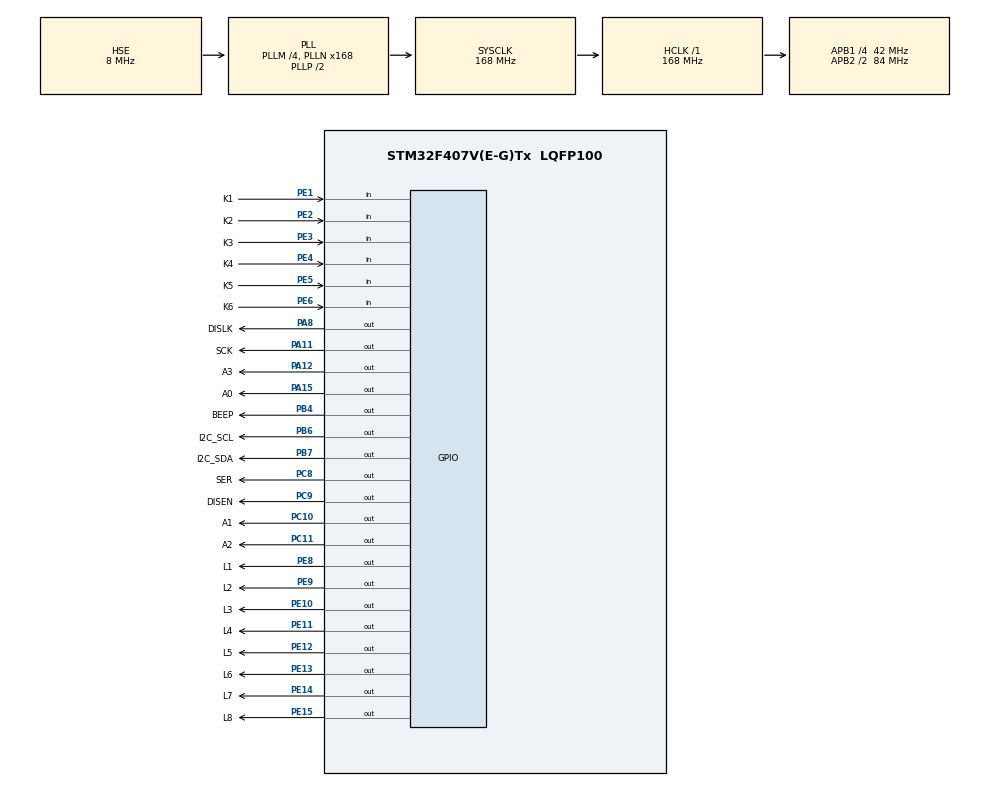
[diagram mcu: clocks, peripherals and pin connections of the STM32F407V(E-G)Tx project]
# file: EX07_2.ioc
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FREERTOS.Tasks01=TaskLED,24,256,StartTaskLED,Default,NULL,Dynamic,NULL,NULL;TaskRTC,8,256,StartTaskRTC,Default,NULL,Dynamic,NULL,NULL;TaskKEY,8,256,StartTaskKEY,Default,NULL,Dynamic,NULL,NULL;TaskSEG,8,128,StartTaskSEG,Default,NULL,Dynamic,NULL,NULL;TaskGUI,8,255,StartTaskGUI,Default,NULL,Dynamic,NULL,NULL
Mcu.Family=STM32F4
Mcu.Name=STM32F407V(E-G)Tx
Mcu.Package=LQFP100
NVIC.PriorityGroup=NVIC_PRIORITYGROUP_4
NVIC.RTC_Alarm_IRQn=true\:5\:0\:true\:false\:true\:true\:true\:true
NVIC.RTC_WKUP_IRQn=true\:5\:0\:true\:false\:true\:true\:true\:true
NVIC.TIM1_BRK_TIM9_IRQn=true\:0\:0\:false\:false\:true\:false\:false\:true
NVIC.TimeBase=TIM1_BRK_TIM9_IRQn
NVIC.TimeBaseIP=TIM9
PA11.GPIO_Label=SCK
PA11.Signal=GPIO_Output
PA12.GPIO_Label=A3
PA12.Signal=GPIO_Output
PA13.Mode=Serial_Wire
PA13.Signal=SYS_JTMS-SWDIO
PA14.Mode=Serial_Wire
PA14.Signal=SYS_JTCK-SWCLK
PA15.GPIO_Label=A0
PA15.Signal=GPIO_Output
PA8.GPIO_Label=DISLK
PA8.Signal=GPIO_Output
PB4.GPIO_Label=BEEP
PB4.Signal=GPIO_Output
PB6.GPIO_Label=I2C_SCL
PB6.GPIO_PuPd=GPIO_PULLDOWN
PB6.Signal=GPIO_Output
PB7.GPIO_Label=I2C_SDA
PB7.GPIO_PuPd=GPIO_PULLDOWN
PB7.Signal=GPIO_Output
PC10.GPIO_Label=A1
PC10.Signal=GPIO_Output
PC11.GPIO_Label=A2
PC11.Signal=GPIO_Output
PC14-OSC32_IN.Mode=LSE-External-Oscillator
PC14-OSC32_IN.Signal=RCC_OSC32_IN
PC15-OSC32_OUT.Mode=LSE-External-Oscillator
PC15-OSC32_OUT.Signal=RCC_OSC32_OUT
PC8.GPIO_Label=SER
PC8.Signal=GPIO_Output
PC9.GPIO_Label=DISEN
PC9.Signal=GPIO_Output
PE1.GPIO_Label=K1
PE1.GPIO_PuPd=GPIO_PULLUP
PE1.Signal=GPIO_Input
PE10.GPIO_Label=L3
PE10.GPIO_ModeDefaultOutputPP=GPIO_MODE_OUTPUT_PP
PE10.GPIO_PuPd=GPIO_NOPULL
PE10.GPIO_Speed=GPIO_SPEED_FREQ_LOW
PE10.PinState=GPIO_PIN_SET
PE10.Signal=GPIO_Output
PE11.GPIO_Label=L4
PE11.GPIO_ModeDefaultOutputPP=GPIO_MODE_OUTPUT_PP
PE11.GPIO_PuPd=GPIO_NOPULL
PE11.GPIO_Speed=GPIO_SPEED_FREQ_LOW
PE11.PinState=GPIO_PIN_SET
PE11.Signal=GPIO_Output
PE12.GPIO_Label=L5
PE12.GPIO_ModeDefaultOutputPP=GPIO_MODE_OUTPUT_PP
PE12.GPIO_PuPd=GPIO_NOPULL
PE12.GPIO_Speed=GPIO_SPEED_FREQ_LOW
PE12.PinState=GPIO_PIN_SET
PE12.Signal=GPIO_Output
PE13.GPIO_Label=L6
PE13.GPIO_ModeDefaultOutputPP=GPIO_MODE_OUTPUT_PP
PE13.GPIO_PuPd=GPIO_NOPULL
PE13.GPIO_Speed=GPIO_SPEED_FREQ_LOW
PE13.PinState=GPIO_PIN_SET
PE13.Signal=GPIO_Output
PE14.GPIO_Label=L7
PE14.GPIO_ModeDefaultOutputPP=GPIO_MODE_OUTPUT_PP
PE14.GPIO_PuPd=GPIO_NOPULL
PE14.GPIO_Speed=GPIO_SPEED_FREQ_LOW
PE14.PinState=GPIO_PIN_SET
PE14.Signal=GPIO_Output
PE15.GPIO_Label=L8
PE15.GPIO_ModeDefaultOutputPP=GPIO_MODE_OUTPUT_PP
PE15.GPIO_PuPd=GPIO_NOPULL
PE15.GPIO_Speed=GPIO_SPEED_FREQ_LOW
PE15.PinState=GPIO_PIN_SET
PE15.Signal=GPIO_Output
PE2.GPIO_Label=K2
PE2.GPIO_PuPd=GPIO_PULLUP
PE2.Signal=GPIO_Input
PE3.GPIO_Label=K3
PE3.GPIO_PuPd=GPIO_PULLUP
PE3.Signal=GPIO_Input
PE4.GPIO_Label=K4
PE4.GPIO_PuPd=GPIO_PULLUP
PE4.Signal=GPIO_Input
PE5.GPIO_Label=K5
PE5.GPIO_PuPd=GPIO_PULLDOWN
PE5.Signal=GPIO_Input
PE6.GPIO_Label=K6
PE6.GPIO_PuPd=GPIO_PULLDOWN
PE6.Signal=GPIO_Input
PE8.GPIO_Label=L1
PE8.GPIO_ModeDefaultOutputPP=GPIO_MODE_OUTPUT_PP
PE8.GPIO_PuPd=GPIO_NOPULL
PE8.GPIO_Speed=GPIO_SPEED_FREQ_LOW
PE8.PinState=GPIO_PIN_SET
PE8.Signal=GPIO_Output
PE9.GPIO_Label=L2
PE9.GPIO_ModeDefaultOutputPP=GPIO_MODE_OUTPUT_PP
PE9.GPIO_PuPd=GPIO_NOPULL
PE9.GPIO_Speed=GPIO_SPEED_FREQ_LOW
PE9.PinState=GPIO_PIN_SET
PE9.Signal=GPIO_Output
PH0-OSC_IN.Mode=HSE-External-Oscillator
PH0-OSC_IN.Signal=RCC_OSC_IN
PH1-OSC_OUT.Mode=HSE-External-Oscillator
PH1-OSC_OUT.Signal=RCC_OSC_OUT
ProjectManager.HeapSize=0x200
ProjectManager.StackSize=0x400
ProjectManager.TargetToolchain=MDK-ARM V5.27
RCC.48MHZClocksFreq_Value=84000000
RCC.AHBFreq_Value=168000000
RCC.APB1CLKDivider=RCC_HCLK_DIV4
RCC.APB1Freq_Value=42000000
RCC.APB1TimFreq_Value=84000000
RCC.APB2CLKDivider=RCC_HCLK_DIV2
RCC.APB2Freq_Value=84000000
RCC.APB2TimFreq_Value=168000000
RCC.CortexFreq_Value=168000000
RCC.HCLKFreq_Value=168000000
RCC.HSE_VALUE=8000000
RCC.HSI_VALUE=16000000
RCC.PLLM=4
RCC.PLLN=168
RCC.PLLSourceVirtual=RCC_PLLSOURCE_HSE
RCC.RCC_RTC_Clock_Source=RCC_RTCCLKSOURCE_LSE
RCC.RCC_RTC_Clock_SourceVirtual=RCC_RTCCLKSOURCE_LSE
RCC.SYSCLKFreq_VALUE=168000000
RCC.SYSCLKSource=RCC_SYSCLKSOURCE_PLLCLK
RCC.VCOOutputFreq_Value=336000000
RTC.Alarm=RTC_ALARM_A
VP_FREERTOS_VS_CMSIS_V2.Mode=CMSIS_V2
VP_RTC_VS_RTC_Activate.Mode=RTC_Enabled
VP_RTC_VS_RTC_Alarm_A_Intern.Mode=Alarm A
VP_RTC_VS_RTC_Calendar.Mode=RTC_Calendar
VP_RTC_VS_RTC_WakeUp_intern.Mode=WakeUp
VP_SYS_VS_tim9.Mode=TIM9
board=custom

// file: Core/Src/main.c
/* USER CODE BEGIN Header */
/**
  ******************************************************************************
  * @file           : main.c
  * @brief          : Main program body
  ******************************************************************************
  * @attention
  *
  * <h2><center>&copy; Copyright (c) 2021 STMicroelectronics.
  * All rights reserved.</center></h2>
  *
  * This software component is licensed by ST under Ultimate Liberty license
  * SLA0044, the "License"; You may not use this file except in compliance with
  * the License. You may obtain a copy of the License at:
  *                             www.st.com/SLA0044
  *
  ******************************************************************************
  */
/* USER CODE END Header */
#include "main.h"
#include "cmsis_os.h"
#include "rtc.h"
#include "gpio.h"

void SystemClock_Config(void);
void MX_FREERTOS_Init(void);

int main(void)
{

  /* MCU Configuration--------------------------------------------------------*/

  /* Reset of all peripherals, Initializes the Flash interface and the Systick. */
  HAL_Init();

  /* Configure the system clock */
  SystemClock_Config();

  /* Initialize all configured peripherals */
  MX_GPIO_Init();
  MX_RTC_Init();
  /* USER CODE BEGIN 2 */
	SetRTCDate(RTC_Year,RTC_Mon,RTC_Dat);
	SetRTCTime(RTC_Hour,RTC_Min,RTC_Sec);

	HAL_RTCEx_DeactivateWakeUpTimer(&hrtc);
	HAL_RTC_DeactivateAlarm(&hrtc,RTC_ALARM_A);
  /* USER CODE END 2 */

  /* Init scheduler */
  osKernelInitialize();  /* Call init function for freertos objects (in freertos.c) */
  MX_FREERTOS_Init();
  /* Start scheduler */
  osKernelStart();

  /* We should never get here as control is now taken by the scheduler */
  /* Infinite loop */
  while (1)
  {

  }
}

void SystemClock_Config(void)
{
  RCC_OscInitTypeDef RCC_OscInitStruct = {0};
  RCC_ClkInitTypeDef RCC_ClkInitStruct = {0};

  /** Configure the main internal regulator output voltage
  */
  __HAL_RCC_PWR_CLK_ENABLE();
  __HAL_PWR_VOLTAGESCALING_CONFIG(PWR_REGULATOR_VOLTAGE_SCALE1);
  /** Initializes the RCC Oscillators according to the specified parameters
  * in the RCC_OscInitTypeDef structure.
  */
  RCC_OscInitStruct.OscillatorType = RCC_OSCILLATORTYPE_HSE|RCC_OSCILLATORTYPE_LSE;
  RCC_OscInitStruct.HSEState = RCC_HSE_ON;
  RCC_OscInitStruct.LSEState = RCC_LSE_ON;
  RCC_OscInitStruct.PLL.PLLState = RCC_PLL_ON;
  RCC_OscInitStruct.PLL.PLLSource = RCC_PLLSOURCE_HSE;
  RCC_OscInitStruct.PLL.PLLM = 4;
  RCC_OscInitStruct.PLL.PLLN = 168;
  RCC_OscInitStruct.PLL.PLLP = RCC_PLLP_DIV2;
  RCC_OscInitStruct.PLL.PLLQ = 4;
  if (HAL_RCC_OscConfig(&RCC_OscInitStruct) != HAL_OK)
  {
    Error_Handler();
  }
  /** Initializes the CPU, AHB and APB buses clocks
  */
  RCC_ClkInitStruct.ClockType = RCC_CLOCKTYPE_HCLK|RCC_CLOCKTYPE_SYSCLK
                              |RCC_CLOCKTYPE_PCLK1|RCC_CLOCKTYPE_PCLK2;
  RCC_ClkInitStruct.SYSCLKSource = RCC_SYSCLKSOURCE_PLLCLK;
  RCC_ClkInitStruct.AHBCLKDivider = RCC_SYSCLK_DIV1;
  RCC_ClkInitStruct.APB1CLKDivider = RCC_HCLK_DIV4;
  RCC_ClkInitStruct.APB2CLKDivider = RCC_HCLK_DIV2;

  if (HAL_RCC_ClockConfig(&RCC_ClkInitStruct, FLASH_LATENCY_5) != HAL_OK)
  {
    Error_Handler();
  }
}

void HAL_TIM_PeriodElapsedCallback(TIM_HandleTypeDef *htim)
{
  if (htim->Instance == TIM9) {
    HAL_IncTick();
  }
}

void Error_Handler(void)
{
  __disable_irq();
  while (1)
  {
  }
}

/************************ (C) COPYRIGHT STMicroelectronics *****END OF FILE****/

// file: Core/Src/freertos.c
/* USER CODE BEGIN Header */
/**
  ******************************************************************************
  * File Name          : freertos.c
  * Description        : Code for freertos applications
  ******************************************************************************
  * @attention
  *
  * <h2><center>&copy; Copyright (c) 2021 STMicroelectronics.
  * All rights reserved.</center></h2>
  *
  * This software component is licensed by ST under Ultimate Liberty license
  * SLA0044, the "License"; You may not use this file except in compliance with
  * the License. You may obtain a copy of the License at:
  *                             www.st.com/SLA0044
  *
  ******************************************************************************
  */
/* USER CODE END Header */

#include "FreeRTOS.h"
#include "task.h"
#include "main.h"
#include "cmsis_os.h"

/* USER CODE BEGIN Includes */
#include "rtc.h"
#include "seg.h"
#include "led.h"

#include "stdio.h"
#include "util.h"
#include "GUI.h"
/* USER CODE END Includes */

/* USER CODE BEGIN PD */
//oled
#define UI_MAIN 0
#define UI_SET 1

/* USER CODE END PD */

/* USER CODE BEGIN Variables */

extern GUI_FLASH const GUI_FONT GUI_FontHZ_KaiTi_16;

char year[9] = {0};//年月日字符串
char month[9] = {0};
char date[9] = {0};
char hour[5] = {0};
char min[5] = {0};
char sec[5] = {0};

uint8_t seg[4] = {0};

uint8_t able_set = 0;
uint8_t bset = 0;//0 disp 1 set min 2 set sec
uint8_t bfree = 0;

uint16_t beep_time = 0;
uint8_t beep_tune;

uint8_t g_ui_indx = UI_MAIN;
uint8_t g_ui_select = UI_MAIN;

uint8_t disp_main_flag = 0; // 0 year ;1 month & date; 3 hour min; 4 seconds
uint8_t disp_set_flag = 0; //设置标志位

/* USER CODE END Variables */
/* Definitions for TaskLED */
osThreadId_t TaskLEDHandle;
const osThreadAttr_t TaskLED_attributes = {
  .name = "TaskLED",
  .stack_size = 256 * 4,
  .priority = (osPriority_t) osPriorityNormal,
};
/* Definitions for TaskRTC */
osThreadId_t TaskRTCHandle;
const osThreadAttr_t TaskRTC_attributes = {
  .name = "TaskRTC",
  .stack_size = 256 * 4,
  .priority = (osPriority_t) osPriorityLow,
};
/* Definitions for TaskKEY */
osThreadId_t TaskKEYHandle;
const osThreadAttr_t TaskKEY_attributes = {
  .name = "TaskKEY",
  .stack_size = 256 * 4,
  .priority = (osPriority_t) osPriorityLow,
};
/* Definitions for TaskSEG */
osThreadId_t TaskSEGHandle;
const osThreadAttr_t TaskSEG_attributes = {
  .name = "TaskSEG",
  .stack_size = 128 * 4,
  .priority = (osPriority_t) osPriorityLow,
};
/* Definitions for TaskGUI */
osThreadId_t TaskGUIHandle;
const osThreadAttr_t TaskGUI_attributes = {
  .name = "TaskGUI",
  .stack_size = 255 * 4,
  .priority = (osPriority_t) osPriorityLow,
};

/* USER CODE BEGIN FunctionPrototypes */
void beep(uint16_t time,uint8_t tune);

void EnterSleepMode(void);
void EnterStopMode(void);
void HAL_GPIO_EXTI_Callback (uint16_t GPIO_Pin);
void HAL_RTCEx_WakeUpTimerEventCallback(RTC_HandleTypeDef *hrtc);
void HAL_RTC_AlarmAEventCallback (RTC_HandleTypeDef *hrtc);

//oled
void DrawUIMAIN();
void DrawUISET();

//KEY
void Key1_Done();
void Key2_Done();
void Key3_Done();
void Key4_Done();
void Key5_Done();
/* USER CODE END FunctionPrototypes */

void StartTaskLED(void *argument);
void StartTaskRTC(void *argument);
void StartTaskKEY(void *argument);
void StartTaskSEG(void *argument);
void StartTaskGUI(void *argument);

void MX_FREERTOS_Init(void); /* (MISRA C 2004 rule 8.1) */

void MX_FREERTOS_Init(void) {

  /* Create the thread(s) */
  /* creation of TaskLED */
  TaskLEDHandle = osThreadNew(StartTaskLED, NULL, &TaskLED_attributes);

  /* creation of TaskRTC */
  TaskRTCHandle = osThreadNew(StartTaskRTC, NULL, &TaskRTC_attributes);

  /* creation of TaskKEY */
  TaskKEYHandle = osThreadNew(StartTaskKEY, NULL, &TaskKEY_attributes);

  /* creation of TaskSEG */
  TaskSEGHandle = osThreadNew(StartTaskSEG, NULL, &TaskSEG_attributes);

  /* creation of TaskGUI */
  TaskGUIHandle = osThreadNew(StartTaskGUI, NULL, &TaskGUI_attributes);

}

void StartTaskLED(void *argument)
{
  /* USER CODE BEGIN StartTaskLED */
  /* Infinite loop */
  for(;;)
  {
		if(beep_time>0)
		{
			-- beep_time;
			HAL_GPIO_TogglePin(BEEP_GPIO_Port,BEEP_Pin);
			for(volatile uint8_t i = 0;i<beep_tune;++i)
				for(volatile uint16_t j=0;j<3000;++j);
		}

    osDelay(1);
  }
  /* USER CODE END StartTaskLED */
}

void StartTaskRTC(void *argument)
{
  /* USER CODE BEGIN StartTaskRTC */
	HAL_RTCEx_DeactivateWakeUpTimer(&hrtc);
	HAL_RTC_DeactivateAlarm(&hrtc,RTC_ALARM_A);

	uint32_t tick = osKernelGetTickCount();

  /* Infinite loop */
  for(;;)
  {
		if(osKernelGetTickCount()>tick+1000)
		{
			tick = osKernelGetTickCount();
			if(ReadRTCDateTime() == HAL_OK)
			{
				seg[0] = RTC_Min/10;
				seg[1] = RTC_Min%10;
				seg[2] = RTC_Sec/10;
				seg[3] = RTC_Sec%10;

			}

		}

    osDelay(1);
  }
  /* USER CODE END StartTaskRTC */
}

void StartTaskKEY(void *argument)
{
  /* USER CODE BEGIN StartTaskKEY */
	uint32_t press_tick;
  /* Infinite loop */
	uint8_t key;

  for(;;)
  {

		key=ScanKey();

		//进入停止模式
		if(key>0)
			press_tick = osKernelGetTickCount();

		if(bfree&&osKernelGetTickCount()>=press_tick+10*1000)
		{

			press_tick = osKernelGetTickCount();

			HAL_GPIO_WritePin(A3_GPIO_Port, A3_Pin, GPIO_PIN_RESET);
			EnterStopMode();
		}

		switch (key)
		{
			case KEY1:
				Key1_Done();

				break;
			case KEY2:
				Key2_Done();
				break;
			case KEY3:
				Key3_Done();
				break;
			case KEY4:
				Key4_Done();
				break;
			case KEY5:
//				bset = !bset;
				Key5_Done();
				break;
			case KEY6:
				bfree = !bfree;
//				Set_leds(0x01);
//				beep(100,20);

				break;
			default:
				break;
		}
    osDelay(50);
  }
  /* USER CODE END StartTaskKEY */
}

void StartTaskSEG(void *argument)
{
  /* USER CODE BEGIN StartTaskSEG */

	int i;
  /* Infinite loop */
  for(;;)
  {
		switch (bset)
    {
    	case 0:
				for(i=0;i<4;i++)
				{
					if((1 == i&&osKernelGetTickCount()%1000>500)||(i==3&&bfree))
					{
						Write595(i,seg[i],1);
					}
					else
						Write595(i,seg[i],0);
					osDelay(5);
				}
    		break;
    	case 1:
				for(i=0;i<4;i++)
				{
					if((0 == i||i==1)&&osKernelGetTickCount()%1000>500)
					{
						Write595(i,16,0);
					}
					else
						Write595(i,seg[i],0);
					osDelay(5);
				}
				break;
    	case 2:
				for(i=0;i<4;i++)
				{
					if((2 == i||i==3)&&osKernelGetTickCount()%1000>500)
					{
						Write595(i,16,0);
					}
					else
						Write595(i,seg[i],0);
					osDelay(5);
				}

    		break;
    	default:
    		break;
    }

    osDelay(1);
  }
  /* USER CODE END StartTaskSEG */
}

void StartTaskGUI(void *argument)
{
  /* USER CODE BEGIN StartTaskGUI */

	GUI_Init();
  /* Infinite loop */
  for(;;)
  {
		switch (g_ui_indx)
    {
    	case UI_MAIN:
				DrawUIMAIN();
    		break;
    	case UI_SET:
				DrawUISET();
    		break;
    	default:
    		break;
    }

    osDelay(1);
  }
  /* USER CODE END StartTaskGUI */
}

/* USER CODE BEGIN Application */
void beep(uint16_t time, uint8_t tune)
{
	beep_time = time;
	beep_tune = tune;
}

void EnterSleepMode(void){ //进入睡眠模式
	HAL_RTCEx_SetWakeUpTimer_IT(&hrtc,30,RTC_WAKEUPCLOCK_CK_SPRE_16BITS);
	SysTick->CTRL &= ~SysTick_CTRL_ENABLE_Msk;
	HAL_PWR_EnterSLEEPMode(PWR_MAINREGULATOR_ON,PWR_SLEEPENTRY_WFI);
}

void EnterStopMode(void){	//开启停止模式
	HAL_RTCEx_SetWakeUpTimer_IT(&hrtc,30,RTC_WAKEUPCLOCK_CK_SPRE_16BITS);
	SysTick->CTRL &= ~SysTick_CTRL_ENABLE_Msk;
	HAL_PWR_EnterSTOPMode(PWR_MAINREGULATOR_ON,PWR_SLEEPENTRY_WFI);
}

void HAL_GPIO_EXTI_Callback (uint16_t GPIO_Pin){

	SystemClock_Config();
	SysTick->CTRL |= ~SysTick_CTRL_ENABLE_Msk;
	HAL_RTCEx_DeactivateWakeUpTimer(&hrtc);
	HAL_RTC_DeactivateAlarm(&hrtc, RTC_ALARM_A);

}

void HAL_RTCEx_WakeUpTimerEventCallback(RTC_HandleTypeDef *hrtc){
	SystemClock_Config();
	SysTick->CTRL |= SysTick_CTRL_ENABLE_Msk;
	HAL_RTCEx_DeactivateWakeUpTimer(hrtc);
}

void HAL_RTC_AlarmAEventCallback (RTC_HandleTypeDef *hrtc){
		SystemClock_Config();
		SysTick->CTRL |= SysTick_CTRL_ENABLE_Msk;
		HAL_RTC_DeactivateAlarm(hrtc,RTC_ALARM_A);
}

//OLED部分
void Key5_Done()  //切换设置与显示状态
{
	switch (g_ui_indx)
	{
		case UI_MAIN:
			g_ui_indx = UI_SET;
			break;
		case UI_SET:
			disp_set_flag++;
			if(disp_set_flag>3)
			{
				disp_set_flag = 0;
				g_ui_indx = UI_MAIN;
			}
			break;
		default:
			break;
	}

}

void Key1_Done()  //显示年份
{
	switch (g_ui_indx)
	{
		case UI_MAIN:
			disp_main_flag = 0;
			break;
		case UI_SET:
			if(disp_set_flag == 0)//设置年+
			{
				RTC_Year++;
				SetRTCDate(RTC_Year,RTC_Mon,RTC_Dat);
			}
			else if(disp_set_flag == 1)//设置月日+
			{
				RTC_Mon = (RTC_Mon)%12+1;
				SetRTCDate(RTC_Year,RTC_Mon,RTC_Dat);
			}

			else if(disp_set_flag == 2)//设置时分+
			{
				RTC_Hour = (RTC_Hour+1)%24;
				SetRTCTime(RTC_Hour,RTC_Min,RTC_Sec);
			}

			else if(disp_set_flag == 3)//设置分秒+
			{
				RTC_Min = (RTC_Min+1)%60;
				SetRTCTime(RTC_Hour,RTC_Min,RTC_Sec);
			}
			break;
		default:
			break;
	}
}

void Key2_Done()  //显示月份
{
	switch (g_ui_indx)
	{
		case UI_MAIN:
			disp_main_flag = 1;
			break;
		case UI_SET:
			if(disp_set_flag == 1)//设置月日+
			{
				RTC_Dat = (RTC_Dat)%31+1;
				SetRTCDate(RTC_Year,RTC_Mon,RTC_Dat);
			}

			else if(disp_set_flag == 2)//设置时分+
			{
				RTC_Min = (RTC_Min+1)%60;
				SetRTCTime(RTC_Hour,RTC_Min,RTC_Sec);
			}

			else if(disp_set_flag == 3)//设置分秒+
			{
				RTC_Sec = (RTC_Sec+1)%60;
				SetRTCTime(RTC_Hour,RTC_Min,RTC_Sec);
			}

			break;
		default:
			break;
	}
}

void Key3_Done()
{
	switch (g_ui_indx)
	{
		case UI_MAIN:
			disp_main_flag = 2;
			break;
		case UI_SET:
			if(disp_set_flag == 1)//设置月日-
			{
				RTC_Dat = RTC_Dat-1;
				if(RTC_Dat==0)
					RTC_Dat=31;
				SetRTCDate(RTC_Year,RTC_Mon,RTC_Dat);
			}

			else if(disp_set_flag == 2)//设置时分+
			{
				RTC_Min = (RTC_Min+59)%60;
				SetRTCTime(RTC_Hour,RTC_Min,RTC_Sec);
			}

			else if(disp_set_flag == 3)//设置分秒+
			{
				RTC_Sec = (RTC_Sec+59)%60;
				SetRTCTime(RTC_Hour,RTC_Min,RTC_Sec);
			}

			break;
		default:
			break;
	}
}

void Key4_Done()
{
	switch (g_ui_indx)
	{
		case UI_MAIN:
			disp_main_flag = 3;
			break;
		case UI_SET:

			if(disp_set_flag == 0)//设置年-
			{
				RTC_Year--;
				SetRTCDate(RTC_Year,RTC_Mon,RTC_Dat);
			}
			else if(disp_set_flag == 1)//设置月日-
			{
				RTC_Mon = RTC_Mon-1;
				if(RTC_Mon == 0)
					RTC_Mon = 12;
				SetRTCDate(RTC_Year,RTC_Mon,RTC_Dat);
			}

			else if(disp_set_flag == 2)//设置时分-
			{
				RTC_Hour = (RTC_Hour+23)%24;
				SetRTCTime(RTC_Hour,RTC_Min,RTC_Sec);
			}

			else if(disp_set_flag == 3)//设置分秒-
			{
				RTC_Min = (RTC_Min+59)%60;
				SetRTCTime(RTC_Hour,RTC_Min,RTC_Sec);
			}

			break;
		default:
			break;
	}
}

//主界面绘图
void DrawUIMAIN()
{
	switch (disp_main_flag)
  {
  	case 0:
			if(ReadRTCDateTime() == HAL_OK)
			{
					GUI_Clear();
					GUI_SetFont(&GUI_FontHZ_KaiTi_16);
					myitoa(RTC_Year,year,10);
					GUI_DispStringAt("年份",54,0);
					GUI_DispStringAt(year,53,20);
					GUI_Update();
			}
  		break;
  	case 1:
			if(ReadRTCDateTime() == HAL_OK)
			{
					GUI_Clear();
					GUI_SetFont(&GUI_FontHZ_KaiTi_16);
					myitoa(RTC_Mon,month,10);
					myitoa(RTC_Dat,date,10);
					GUI_DispStringAt("日期",54,0);
					GUI_DispStringAt(month,45,20);
					GUI_DispStringAt("月",61,20);
					GUI_DispStringAt(date,80,20);
					GUI_DispStringAt("日",95,20);

					GUI_Update();
			}
  		break;

	  case 2:
			if(ReadRTCDateTime() == HAL_OK)
			{
					GUI_Clear();
					GUI_SetFont(&GUI_FontHZ_KaiTi_16);
					myitoa(RTC_Hour,hour,10);
					myitoa(RTC_Min,min,10);
					GUI_DispStringAt("时分",54,0);
					GUI_DispStringAt(hour,40,20);
					GUI_DispStringAt("时",60,20);
					GUI_DispStringAt(min,80,20);
					GUI_DispStringAt("分",105,20);
					GUI_Update();
			}
  		break;

			case 3:
			if(ReadRTCDateTime() == HAL_OK)
			{
					GUI_Clear();
					GUI_SetFont(&GUI_FontHZ_KaiTi_16);
					myitoa(RTC_Sec,sec,10);
					GUI_DispStringAt("秒",54,0);
					GUI_DispStringAt(sec,42,20);
					GUI_DispStringAt("秒",65,20);
					GUI_Update();
			}
  		break;

  	default:
  		break;
  }

}

void DrawUISET()
{
	switch (disp_set_flag)
  {
  	case 0:
			if(ReadRTCDateTime() == HAL_OK)
			{
					GUI_Clear();
					GUI_SetFont(&GUI_FontHZ_KaiTi_16);
					myitoa(RTC_Year,year,10);
					GUI_DispStringAt("年份设置",40,0);
					GUI_DispStringAt(year,53,20);
					GUI_Update();
			}
  		break;
  	case 1:
			if(ReadRTCDateTime() == HAL_OK)
			{
					GUI_Clear();
					GUI_SetFont(&GUI_FontHZ_KaiTi_16);
					myitoa(RTC_Mon,month,10);
					myitoa(RTC_Dat,date,10);
					GUI_DispStringAt("日期设置",40,0);
					GUI_DispStringAt(month,45,20);
					GUI_DispStringAt("月",61,20);
					GUI_DispStringAt(date,80,20);
					GUI_DispStringAt("日",95,20);

					GUI_Update();
			}
  		break;

	  case 2:
			if(ReadRTCDateTime() == HAL_OK)
			{
					GUI_Clear();
					GUI_SetFont(&GUI_FontHZ_KaiTi_16);
					myitoa(RTC_Hour,hour,10);
					myitoa(RTC_Min,min,10);
					GUI_DispStringAt("时分设置",40,0);
					GUI_DispStringAt(hour,40,20);
					GUI_DispStringAt("时",60,20);
					GUI_DispStringAt(min,80,20);
					GUI_DispStringAt("分",105,20);
					GUI_Update();
			}
  		break;

			case 3:
			if(ReadRTCDateTime() == HAL_OK)
			{
					GUI_Clear();
					GUI_SetFont(&GUI_FontHZ_KaiTi_16);
					myitoa(RTC_Sec,sec,10);
					myitoa(RTC_Min,min,10);
					GUI_DispStringAt("分秒设置",40,0);
					GUI_DispStringAt(min,42,20);
					GUI_DispStringAt("分",65,20);
					GUI_DispStringAt(sec,85,20);
					GUI_DispStringAt("秒",100,20);
					GUI_Update();
			}
  		break;

  	default:
  		break;
  }

}
/* USER CODE END Application */

/************************ (C) COPYRIGHT STMicroelectronics *****END OF FILE****/
